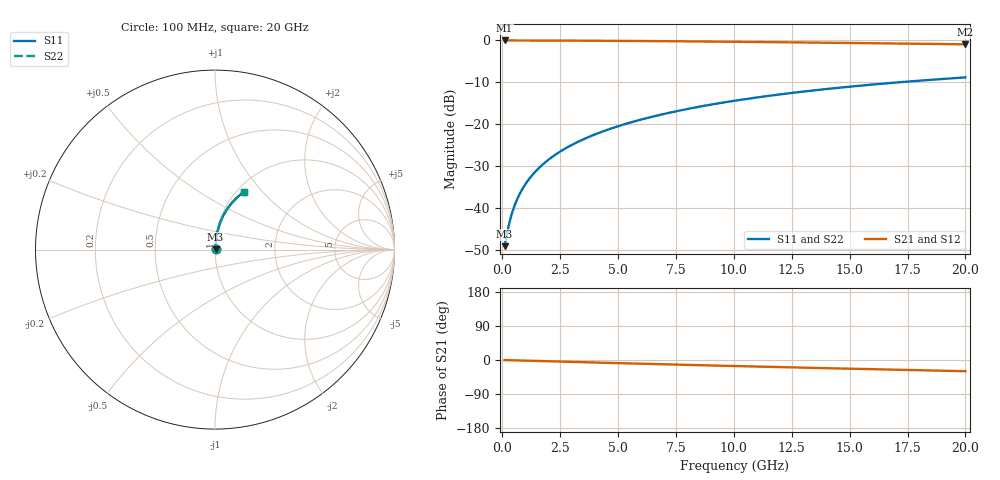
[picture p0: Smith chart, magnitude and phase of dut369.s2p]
! Touchstone file exported from HFSS 2024.1.0
!  File:  C:/UserFiles/LocalFiles/RDL_TSV_Batchsim/temp_RDL_top_369_1779608893.aedt
!  Generated:  03:51:06 PM May 24, 2026
!  Design:  RDL_top
!  Project:  temp_RDL_top_369_1779608893
!  Setup:  Setup1
!  Solution:  Sweep
! Variables:
!  dtsv = 10.80580581um
!  hbump = 3um
!  htsv = 88.83um
!  ldown = 100um
!  lrdl = 325.61um
!  p = 40
!  p1 = 57.87um
!  rhole = 1um
!  t = 450um
!  tdown = 3.915915916um
!  trdl = 2.79um
!  wdown = 15.38538539um
!  wrdl = 15.23um
# GHz S MA R 50.000000
! Terminal data exported
! Port[1] = Box2_T1
! Port[2] = Box2_T2
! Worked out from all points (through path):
!   200 points, 100 MHz to 20 GHz, reference 50 ohm
!   highest |S21| = -0.03 dB at 100 MHz (marker M1); lowest = -0.9 dB at 20 GHz (marker M2)
!   group delay of S21, straight-line fit = 4.1 ps
!   lowest |S11| = -49.1 dB at 100 MHz (marker M3), VSWR 1.01, Z = 50.3 + j0.197 ohm
!   |S11| at or under -10 dB: start of sweep to 17.14 GHz
!   |S22| runs from -49.1 to -8.8 dB; largest |S21 - S12| = 2.6e-15
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0.1  0.003509 33.9  0.9971 -0.2  0.9971 -0.2  0.003509 33.9
! Gamma 0 0 0 0
! Port Impedance 50 0 50 0
0.2  0.004899 52.8  0.997 -0.3  0.997 -0.3  0.004899 52.8
0.3  0.006573 62.5  0.997 -0.5  0.997 -0.5  0.006573 62.5
0.4  0.008345 68.1  0.9969 -0.7  0.9969 -0.7  0.008345 68.1
0.5  0.01015 71.6  0.9968 -0.9  0.9968 -0.9  0.01015 71.6
0.6  0.01197 74.0  0.9967 -1.0  0.9967 -1.0  0.01197 74.0
0.8  0.01563 77.1  0.9964 -1.4  0.9964 -1.4  0.01563 77.1
1.1  0.02114 79.7  0.9961 -1.9  0.9961 -1.9  0.02114 79.7
1.5  0.02853 81.5  0.9956 -2.5  0.9956 -2.5  0.02853 81.5
1.8  0.0341 82.3  0.9951 -3.0  0.9951 -3.0  0.0341 82.3
2.1  0.03969 82.8  0.9945 -3.5  0.9945 -3.5  0.03969 82.8
2.7  0.05093 83.2  0.9933 -4.5  0.9933 -4.5  0.05093 83.2
3.5  0.06602 83.2  0.9912 -5.8  0.9912 -5.8  0.06602 83.2
4.2  0.0793 82.9  0.989 -7.0  0.989 -7.0  0.0793 82.9
5  0.09455 82.3  0.9861 -8.2  0.9861 -8.2  0.09456 82.3
5.9  0.1118 81.5  0.9824 -9.7  0.9824 -9.7  0.1118 81.5
6.8  0.129 80.6  0.9784 -11.1  0.9784 -11.1  0.129 80.6
8.3  0.1577 78.8  0.971 -13.4  0.971 -13.4  0.1577 78.8
10.1  0.1917 76.5  0.9612 -16.0  0.9612 -16.0  0.1917 76.5
13.4  0.2521 72.0  0.9412 -20.8  0.9412 -20.8  0.2522 72.0
16.7  0.309 67.5  0.9195 -25.3  0.9195 -25.3  0.309 67.5
20  0.3615 63.2  0.8965 -29.6  0.8965 -29.6  0.3616 63.2
